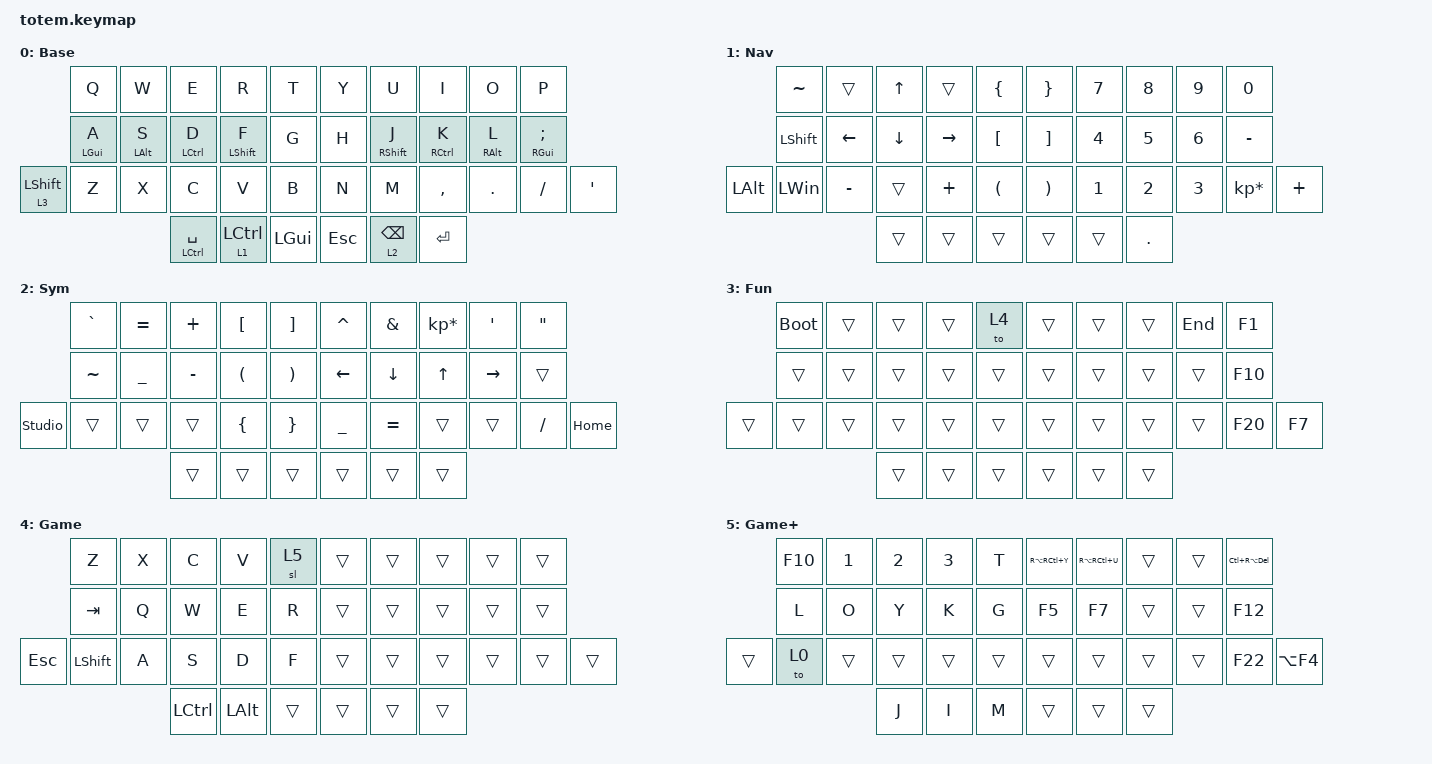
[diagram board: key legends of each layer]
//
//                                                        ▀▀▀▀▀     ▀▀▀▀▀          ▀▀█▀▀
//                                                        ▄▀▀▀▄  ▄  ▄▀▀▀▄  ▄  ▄▀▀▀▄  █  ▄▀▀▀▄
//                                                        █   █  █  █   █  █  █   █  █  █   █
//                                                         ▀▀▀   █   ▀▀▀   █   ▀▀▀   ▀   ▀▀▀
//                                                               █      ▄▄▄█▄▄▄    █   █  
//                                                               ▀      █  █  █     █▄█
//                                                             ▀▀▀▀▀    █  █  █      ▀
//                                                                      ▀  ▀  ▀
//
// ▄▄▄▄▄▄▄▄▄▄▄▄▄▄▄▄▄▄▄▄▄▄▄▄▄▄▄▄▄▄▄▄▄▄▄▄▄▄▄▄▄▄▄▄▄▄▄▄▄▄▄▄▄▄▄▄▄▄▄▄▄▄▄▄▄▄▄▄▄▄▄▄▄▄▄▄▄▄▄▄▄▄▄▄▄▄▄▄▄▄▄▄▄▄▄▄▄▄▄▄▄▄▄▄▄▄▄▄▄▄▄▄▄▄▄▄▄▄▄▄▄▄▄▄▄▄▄▄▄▄▄▄▄▄▄▄▄▄▄▄▄▄▄▄▄▄▄▄▄

#include <behaviors.dtsi>
#include <dt-bindings/zmk/keys.h>

#define Base        0
#define Nav         1
#define Sym         2
#define Fun         3
#define Game        4
#define Gameplus    5

&mt {
    quick-tap-ms = <100>;
    global-quick-tap;
    flavor = "tap-preferred";
    tapping-term-ms = <170>;
};

&lt {
    tapping-term-ms = <240>;
    flavor = "balanced";
    quick-tap-ms = <150>;
};

/ {
    behaviors {
        hm: homerow_mods {
            compatible = "zmk,behavior-hold-tap";
            label = "HOMEROW_MODS";
            #binding-cells = <2>;
            flavor = "tap-preferred";
            tapping-term-ms = <200>;
            quick-tap-ms = <125>;
            global-quick-tap;
            bindings = <&kp>, <&kp>;
        };
    };

    combos { compatible = "zmk,combos"; };

    keymap {
        compatible = "zmk,keymap";

        Base {
            display-name = "Base";
            bindings = <
                  &kp Q       &kp W       &kp E            &kp R         &kp T           &kp Y       &kp U            &kp I        &kp O       &kp P
                  &hm LGUI A  &hm LALT S  &hm LCTRL D      &hm LSHIFT F  &kp G           &kp H       &hm RSHFT J      &hm RCTRL K  &hm RALT L  &hm RGUI SEMICOLON
&lt 3 LEFT_SHIFT  &kp Z       &kp X       &kp C            &kp V         &kp B           &kp N       &kp M            &kp COMMA    &kp DOT     &kp SLASH           &kp APOSTROPHE
                                          &mt LCTRL SPACE  &lt 1 LCTRL   &kp LEFT_GUI    &kp ESCAPE  &lt 2 BACKSPACE  &kp ENTER
            >;
        };

        Nav {
            display-name = "Nav";
            bindings = <
              &kp TILDE       &trans     &kp UP_ARROW  &trans     &kp LBRC    &kp RBRC  &kp NUMBER_7  &kp NUMBER_8  &kp NUMBER_9  &kp NUMBER_0
              &kp LEFT_SHIFT  &kp LEFT   &kp DOWN      &kp RIGHT  &kp LBKT    &kp RBKT  &kp NUMBER_4  &kp NUMBER_5  &kp NUMBER_6  &kp MINUS
&kp LEFT_ALT  &kp LEFT_WIN    &kp MINUS  &trans        &kp PLUS   &kp LPAR    &kp RPAR  &kp NUMBER_1  &kp NUMBER_2  &kp NUMBER_3  &kp KP_MULTIPLY  &kp PLUS
                                         &trans        &trans     &trans      &trans    &trans        &kp DOT
            >;
        };

        Sym {
            display-name = "Sym";
            bindings = <
                &kp GRAVE  &kp EQUAL       &kp PLUS   &kp LEFT_BRACKET      &kp RIGHT_BRACKET        &kp CARET       &kp AMPERSAND   &kp KP_ASTERISK  &kp SQT          &kp DQT
                &kp TILDE  &kp UNDERSCORE  &kp MINUS  &kp LEFT_PARENTHESIS  &kp RIGHT_PARENTHESIS    &kp LEFT_ARROW  &kp DOWN_ARROW  &kp UP_ARROW     &kp RIGHT_ARROW  &trans
&studio_unlock  &trans     &trans          &trans     &kp LEFT_BRACE        &kp RBRC                 &kp UNDER       &kp EQUAL       &trans           &trans           &kp SLASH  &kp HOME
                                           &trans     &trans                &trans                   &trans          &trans          &trans
            >;
        };

        Fun {
            display-name = "Fun";
            bindings = <
        &bootloader  &trans  &trans  &trans  &to 4     &trans  &trans  &trans  &kp END  &kp F1
        &trans       &trans  &trans  &trans  &trans    &trans  &trans  &trans  &trans   &kp F10
&trans  &trans       &trans  &trans  &trans  &trans    &trans  &trans  &trans  &trans   &kp F20  &kp F7
                             &trans  &trans  &trans    &trans  &trans  &trans
            >;
        };

        Gaming {
            display-name = "Game";
            bindings = <
            &kp Z           &kp X  &kp C      &kp V         &sl 5     &trans  &trans  &trans  &trans  &trans
            &kp TAB         &kp Q  &kp W      &kp E         &kp R     &trans  &trans  &trans  &trans  &trans
&kp ESCAPE  &kp LEFT_SHIFT  &kp A  &kp S      &kp D         &kp F     &trans  &trans  &trans  &trans  &trans  &trans
                                   &kp LCTRL  &kp LEFT_ALT  &trans    &trans  &trans  &trans
            >;
        };

        Gaming+ {
            display-name = "Game+";
            bindings = <
        &kp F10  &kp NUMBER_1  &kp NUMBER_2  &kp NUMBER_3  &kp T     &kp RA(RC(Y))  &kp RA(RC(U))  &trans  &trans  &kp LC(RA(DEL))
        &kp L    &kp O         &kp Y         &kp K         &kp G     &kp F5         &kp F7         &trans  &trans  &kp F12
&trans  &to 0    &trans        &trans        &trans        &trans    &trans         &trans         &trans  &trans  &kp F22          &kp LA(F4)
                               &kp J         &kp I         &kp M     &trans         &trans         &trans
            >;
        };
    };
};
